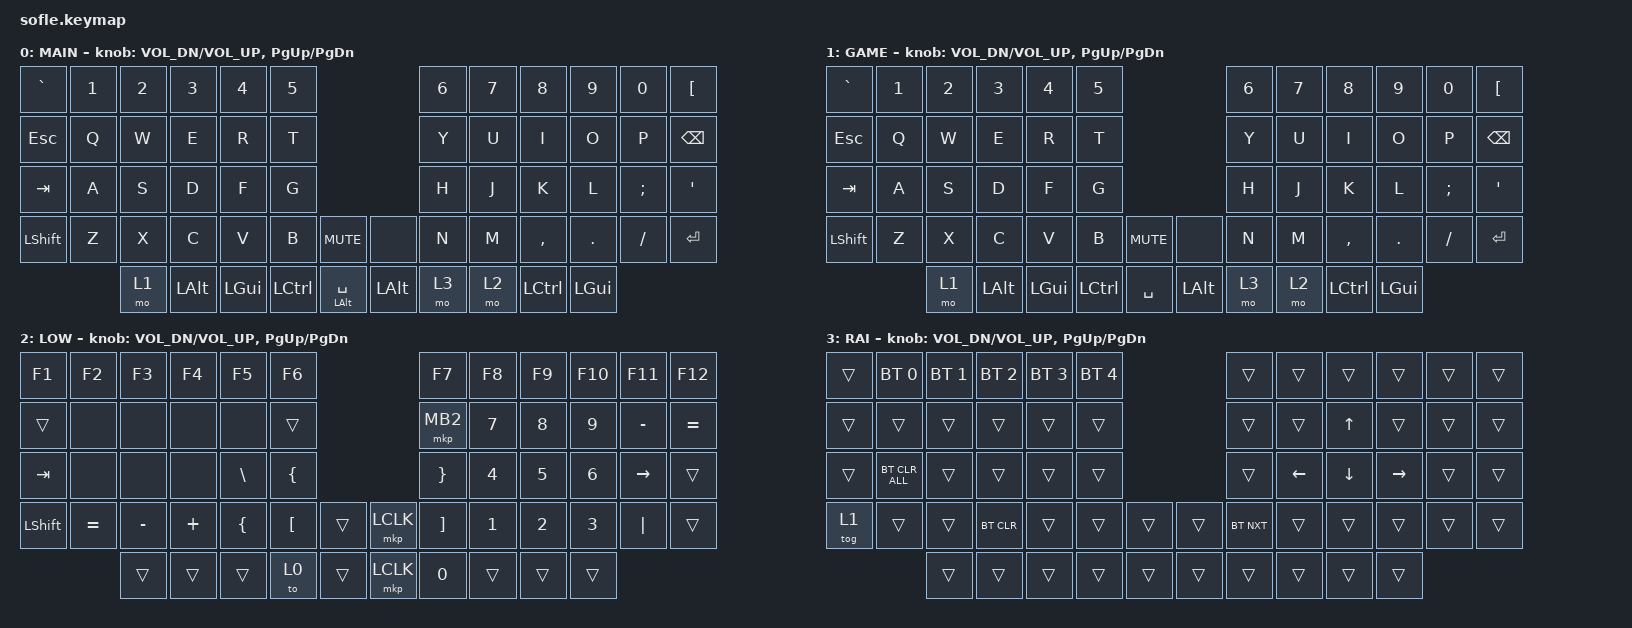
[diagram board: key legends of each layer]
/*
 * Sofle keymap — ported from Charybdis layout
 * Goal: identical muscle memory for the 6x4 grid and primary layers
 *
 * Differences from Charybdis:
 *   - Thumb cluster: 5 keys per side (vs 3+2 / 2+1)
 *   - Encoders: left=volume, right=scroll (replaces trackball layers 3/4/5)
 *   - No trackball: mouse click bindings moved to layer 1 right thumb
 *   - No RGB: macros simplified (no color switching)
 */

#include <behaviors.dtsi>
#include <dt-bindings/zmk/bt.h>
#include <dt-bindings/zmk/keys.h>
#include <dt-bindings/zmk/mouse.h>

&lt {
    tapping-term-ms = <200>;
    flavor = "balanced";
    quick-tap-ms = <150>;
};

/ {
    keymap {
        compatible = "zmk,keymap";

        QWERTY {
            display-name = "MAIN";

            // ---------------------------------------------------------------------------------------------------------------
            // | GRAVE |  1  |  2  |  3    |  4     |  5    |                       |  6    |  7  |  8     |  9   |  0    | [     |
            // | ESC   |  Q  |  W  |  E    |  R     |  T    |                       |  Y    |  U  |  I     |  O   |  P    | BKSP  |
            // | TAB   |  A  |  S  |  D    |  F     |  G    |                       |  H    |  J  |  K     |  L   |  ;    | '     |
            // | SHIFT |  Z  |  X  |  C    |  V     |  B    | MUTE   |  |           |  N    |  M  |  ,     |  .   |  /    | ENTER |
            //               | GUI | ALT   | CTRL   | MO2   | SPACE  |  | ENTER     | MO3   | GUI | ALT    | CTRL |

            bindings = <
&kp GRAVE       &kp N1  &kp N2  &kp N3        &kp N4     &kp N5                              &kp N6    &kp N7  &kp N8     &kp N9   &kp N0    &kp LEFT_BRACKET
&kp ESC         &kp Q   &kp W   &kp E         &kp R      &kp T                               &kp Y     &kp U   &kp I      &kp O    &kp P     &kp BACKSPACE
&kp TAB         &kp A   &kp S   &kp D         &kp F      &kp G                               &kp H     &kp J   &kp K      &kp L    &kp SEMI  &kp SQT
&kp LEFT_SHIFT  &kp Z   &kp X   &kp C         &kp V      &kp B      &kp C_MUTE    &none      &kp N     &kp M   &kp COMMA  &kp DOT  &kp FSLH  &kp ENTER
                        &mo 1     &kp LALT  &kp LGUI   &kp LCTRL  &mt LALT SPACE     &kp LALT  &mo 3     &mo 2     &kp LCTRL  &kp LGUI
            >;

            sensor-bindings = <&inc_dec_kp C_VOL_DN C_VOL_UP &inc_dec_kp PG_UP PG_DN>;
        };

        GAME {
            display-name = "GAME";

            bindings = <
&kp GRAVE       &kp N1  &kp N2  &kp N3        &kp N4     &kp N5                              &kp N6    &kp N7  &kp N8     &kp N9   &kp N0    &kp LEFT_BRACKET
&kp ESC         &kp Q   &kp W   &kp E         &kp R      &kp T                               &kp Y     &kp U   &kp I      &kp O    &kp P     &kp BACKSPACE
&kp TAB         &kp A   &kp S   &kp D         &kp F      &kp G                               &kp H     &kp J   &kp K      &kp L    &kp SEMI  &kp SQT
&kp LEFT_SHIFT  &kp Z   &kp X   &kp C         &kp V      &kp B      &kp C_MUTE    &none      &kp N     &kp M   &kp COMMA  &kp DOT  &kp FSLH  &kp ENTER
                        &mo 1     &kp LALT  &kp LGUI   &kp LCTRL  &kp SPACE          &kp LALT       &mo 3  &mo 2  &kp LCTRL  &kp LGUI 
            >;

            sensor-bindings = <&inc_dec_kp C_VOL_DN C_VOL_UP &inc_dec_kp PG_UP PG_DN>;
        };

        F_layers {
            display-name = "LOW";

            // ---------------------------------------------------------------------------------------------------------------
            // | F1    | F2    | F3    | F4   | F5          | F6            |                 | F7             | F8   | F9   | F10  | F11   | F12   |
            // |       |       |       |      |             |               |                 | MB2            | 7    | 8    | 9    | -     | =     |
            // | TAB   |       |       |      | \           | {             |                 | }              | 4    | 5    | 6    | RIGHT |       |
            // | SHIFT | =     | -     | +    | {           | [             |        |  |     | ]              | 1    | 2    | 3    | |     |       |
            //                 |       |      |             | _to0_         |        |  | MB1 | 0              |      |      |      |

            bindings = <
&kp F1     &kp F2     &kp F3     &kp F4    &kp F5          &kp F6                                  &kp F7             &kp F8        &kp F9        &kp F10       &kp F11    &kp F12
&trans     &none      &none      &none     &none           &trans                                  &mkp MB2           &kp NUMBER_7  &kp NUMBER_8  &kp NUMBER_9  &kp MINUS  &kp EQUAL
&kp TAB    &none      &none      &none     &kp BACKSLASH   &kp LEFT_BRACE                          &kp RIGHT_BRACE    &kp NUMBER_4  &kp NUMBER_5  &kp NUMBER_6  &kp RIGHT  &trans
&kp LSHFT  &kp EQUAL  &kp MINUS  &kp PLUS  &kp LEFT_BRACE  &kp LEFT_BRACKET  &trans    &mkp LCLK  &kp RIGHT_BRACKET  &kp NUMBER_1  &kp NUMBER_2  &kp NUMBER_3  &kp PIPE   &trans
                       &trans     &trans    &trans          &to 0              &trans    &mkp LCLK  &kp NUMBER_0       &trans        &trans        &trans
            >;

            sensor-bindings = <&inc_dec_kp C_VOL_DN C_VOL_UP &inc_dec_kp PG_UP PG_DN>;
        };

        BT_layers {
            display-name = "RAI";

            // ---------------------------------------------------------------------------------------------------------------
            // |       | BT1          | BT2   | BT3    | BT4   | BT5   |                 |        |       |       |       |       |       |
            // |       |              |       |        |       |       |                 |        |       | UP    |       |       |       |
            // |       | BT_CLR_ALL   |       |        |       |       |                 |        | LEFT  | DOWN  | RIGHT |       |       |
            // | TOG 1 |              |       | BT_CLR |       |       |        |  |     | BT_NXT |       |       |       |       |       |
            //                        |       |        |       |       |        |  |     |        |       |       |       |

            bindings = <
&trans  &bt BT_SEL 0    &bt BT_SEL 1  &bt BT_SEL 2  &bt BT_SEL 3  &bt BT_SEL 4                    &trans      &trans          &trans          &trans           &trans  &trans
&trans  &trans          &trans        &trans        &trans        &trans                          &trans      &trans          &kp UP_ARROW    &trans           &trans  &trans
&trans  &bt BT_CLR_ALL  &trans        &trans        &trans        &trans                          &trans      &kp LEFT_ARROW  &kp DOWN_ARROW  &kp RIGHT_ARROW  &trans  &trans
&tog 1  &trans          &trans        &bt BT_CLR    &trans        &trans          &trans    &trans  &bt BT_NXT  &trans          &trans          &trans           &trans  &trans
                        &trans        &trans        &trans        &trans          &trans    &trans  &trans      &trans          &trans          &trans
            >;

            sensor-bindings = <&inc_dec_kp C_VOL_DN C_VOL_UP &inc_dec_kp PG_UP PG_DN>;
        };
    };
};
